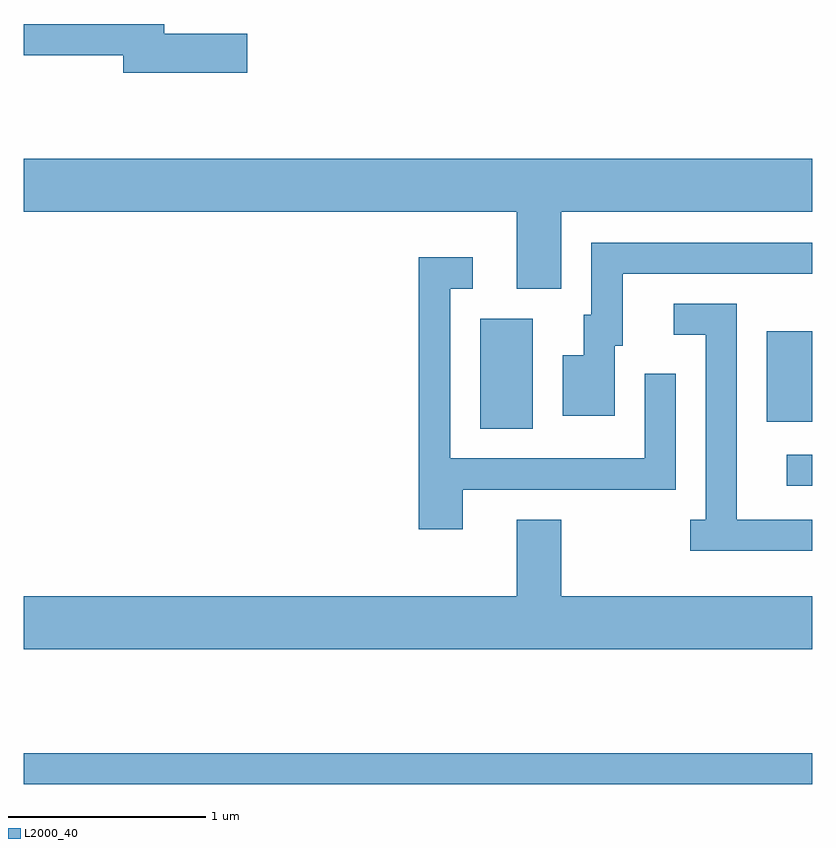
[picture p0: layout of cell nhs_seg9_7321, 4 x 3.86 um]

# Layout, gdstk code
import gdstk
lib = gdstk.Library(unit=1e-6, precision=1e-09)
def R(c, l, rs):  # rectangles x0, y0, x1, y1
    for r in rs: c.add(gdstk.rectangle(r[:2], r[2:], *l))
def P(c, l, *ps):  # polygons
    for p in ps: c.add(gdstk.Polygon(p, *l))
L2000_40 = (2000, 40)

nhs_seg9_7321 = lib.new_cell('nhs_seg9_7321')
R(nhs_seg9_7321, L2000_40, [(401.611,2024.432,405.611,2024.589), (405.483,2025.946,405.611,2026.104), (403.926,2026.236,404.194,2026.794), (405.381,2026.271,405.611,2026.729)])
P(nhs_seg9_7321, L2000_40, [(402.744,2028.239),(402.324,2028.239),(402.324,2028.289),(401.611,2028.289),(401.611,2028.131),(402.116,2028.131),(402.116,2028.041),(402.744,2028.041)],
  [(404.339,2027.336),(405.611,2027.336),(405.611,2027.604),(401.611,2027.604),(401.611,2027.336),(404.111,2027.336),(404.111,2026.946),(404.339,2026.946)],
  [(404.609,2026.656),(404.649,2026.656),(404.649,2027.021),(405.611,2027.021),(405.611,2027.179),(404.491,2027.179),(404.491,2026.814),(404.451,2026.814),(404.451,2026.609),(404.346,2026.609),(404.346,2026.301),(404.609,2026.301)],
  [(403.839,2025.926),(404.919,2025.926),(404.919,2026.513),(404.761,2026.513),(404.761,2026.084),(403.774,2026.084),(403.774,2026.946),(403.888,2026.946),(403.888,2027.104),(403.616,2027.104),(403.616,2025.726),(403.839,2025.726)],
  [(405.611,2025.774),(405.229,2025.774),(405.229,2026.869),(404.908,2026.869),(404.908,2026.711),(405.071,2026.711),(405.071,2025.774),(404.993,2025.774),(404.993,2025.616),(405.611,2025.616)],
  [(405.611,2025.384),(404.339,2025.384),(404.339,2025.774),(404.111,2025.774),(404.111,2025.384),(401.611,2025.384),(401.611,2025.116),(405.611,2025.116)])

lib.write_gds('nhs_seg9_7321.gds')
